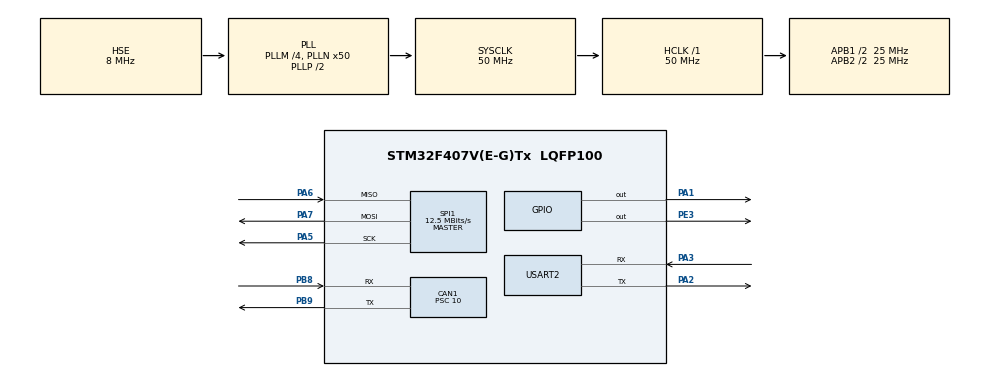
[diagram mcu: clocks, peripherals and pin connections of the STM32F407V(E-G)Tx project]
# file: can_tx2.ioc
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CAN1.BS1=CAN_BS1_2TQ
CAN1.BS2=CAN_BS2_2TQ
CAN1.CalculateBaudRate=500000
CAN1.CalculateTimeBit=2000
CAN1.CalculateTimeQuantum=400.0
CAN1.Prescaler=10
Mcu.Family=STM32F4
Mcu.Name=STM32F407V(E-G)Tx
Mcu.Package=LQFP100
NVIC.CAN1_RX0_IRQn=true\:0\:0\:false\:false\:true\:true\:true\:true
NVIC.PriorityGroup=NVIC_PRIORITYGROUP_0
PA1.Signal=GPIO_Output
PA2.Mode=Asynchronous
PA2.Signal=USART2_TX
PA3.Mode=Asynchronous
PA3.Signal=USART2_RX
PA5.Mode=Full_Duplex_Master
PA5.Signal=SPI1_SCK
PA6.Mode=Full_Duplex_Master
PA6.Signal=SPI1_MISO
PA7.Mode=Full_Duplex_Master
PA7.Signal=SPI1_MOSI
PB8.Mode=CAN_Activate
PB8.Signal=CAN1_RX
PB9.Mode=CAN_Activate
PB9.Signal=CAN1_TX
PE3.Signal=GPIO_Output
PH0-OSC_IN.Mode=HSE-External-Oscillator
PH0-OSC_IN.Signal=RCC_OSC_IN
PH1-OSC_OUT.Mode=HSE-External-Oscillator
PH1-OSC_OUT.Signal=RCC_OSC_OUT
ProjectManager.HeapSize=0x200
ProjectManager.StackSize=0x400
ProjectManager.TargetToolchain=STM32CubeIDE
RCC.48MHZClocksFreq_Value=14285714.285714285
RCC.AHBFreq_Value=50000000
RCC.APB1CLKDivider=RCC_HCLK_DIV2
RCC.APB1Freq_Value=25000000
RCC.APB1TimFreq_Value=50000000
RCC.APB2CLKDivider=RCC_HCLK_DIV2
RCC.APB2Freq_Value=25000000
RCC.APB2TimFreq_Value=50000000
RCC.CortexFreq_Value=50000000
RCC.HCLKFreq_Value=50000000
RCC.HSE_VALUE=8000000
RCC.HSI_VALUE=16000000
RCC.LSE_VALUE=32768
RCC.PLLM=4
RCC.PLLN=50
RCC.PLLQ=7
RCC.PLLSourceVirtual=RCC_PLLSOURCE_HSE
RCC.SYSCLKFreq_VALUE=50000000
RCC.SYSCLKSource=RCC_SYSCLKSOURCE_PLLCLK
RCC.VCOOutputFreq_Value=100000000
SPI1.CalculateBaudRate=12.5 MBits/s
SPI1.Direction=SPI_DIRECTION_2LINES
SPI1.Mode=SPI_MODE_MASTER
SPI1.VirtualType=VM_MASTER
TIM6.Period=0xffff-1
TIM6.Prescaler=50-1
USART2.VirtualMode=VM_ASYNC
VP_TIM6_VS_ClockSourceINT.Mode=Enable_Timer
board=STM32F407G-DISC1

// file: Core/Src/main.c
/* USER CODE BEGIN Header */
/**
  ******************************************************************************
  * @file           : main.c
  * @brief          : Main program body
  ******************************************************************************
  * @attention
  *
  * Copyright (c) 2024 STMicroelectronics.
  * All rights reserved.
  *
  * This software is licensed under terms that can be found in the LICENSE file
  * in the root directory of this software component.
  * If no LICENSE file comes with this software, it is provided AS-IS.
  *
  ******************************************************************************
  */
/* USER CODE END Header */
#include "main.h"

/* USER CODE BEGIN Includes */
#include <stdio.h>
#include "dht22.h"
#include "accel.h"

/* USER CODE END Includes */

CAN_HandleTypeDef hcan1;

SPI_HandleTypeDef hspi1;

TIM_HandleTypeDef htim6;

UART_HandleTypeDef huart2;

void SystemClock_Config(void);
static void MX_GPIO_Init(void);
static void MX_CAN1_Init(void);
static void MX_TIM6_Init(void);
static void MX_USART2_UART_Init(void);
static void MX_SPI1_Init(void);

/* USER CODE BEGIN 0 */

uint8_t checksum, i;
//uint8_t T_Byte1, T_Byte2, RH_Byte1, RH_Byte2;
uint8_t TempData[2], RHData[2];

uint8_t TxData[8];

/* USER CODE END 0 */

int main(void)
{

  /* USER CODE BEGIN 1 */

	char msg[50];
	uint8_t AxisArray[6];

	uint16_t rh, temp;
	uint8_t sign;
  /* USER CODE END 1 */

  /* MCU Configuration--------------------------------------------------------*/

  /* Reset of all peripherals, Initializes the Flash interface and the Systick. */
  HAL_Init();

  /* Configure the system clock */
  SystemClock_Config();

  /* Initialize all configured peripherals */
  MX_GPIO_Init();
  MX_CAN1_Init();
  MX_TIM6_Init();
  MX_USART2_UART_Init();
  MX_SPI1_Init();
  /* USER CODE BEGIN 2 */

  HAL_CAN_Start(&hcan1);
  HAL_CAN_ActivateNotification(&hcan1, CAN_IT_RX_FIFO0_MSG_PENDING);

  HAL_TIM_Base_Start(&htim6);  // for us Delay

  LIS3DSH_Init(&hspi1, GPIOE, GPIO_PIN_3);

  sprintf(msg, "UART initialized..\r\n");
  HAL_UART_Transmit(&huart2, (uint8_t *)msg, strlen(msg), HAL_MAX_DELAY);

  TxHeader.DLC = 4;
  TxHeader.IDE = CAN_ID_STD;
  TxHeader.RTR = CAN_RTR_DATA;
  TxHeader.StdId = 0x446;
  TxHeader.ExtId = 0x00;
  TxHeader.TransmitGlobalTime = DISABLE;
  HAL_Delay(500);

//  	TxHeader.DLC = 6;
//    TxHeader.IDE = CAN_ID_STD;
//    TxHeader.RTR = CAN_RTR_DATA;
//    TxHeader.StdId = 0x103;
//    TxHeader.ExtId = 0x00;
//    TxHeader.TransmitGlobalTime = DISABLE;
//    HAL_Delay(500);

  /* USER CODE END 2 */

  /* Infinite loop */
  while (1)
  {

    /* USER CODE BEGIN 3 */

	  // DHT22 code Start-------------------------------------------------------------------------->
	  delay_us(30);
	  Start_Signal();
	 	  if (!check_response()) {
	 		  send_uart("No Response from the Sensor!\r\n");
	 		  continue;
	 	  }

	 	 RHData[0] = read_byte();
	     RHData[1] = read_byte();
	 	 TempData[0] = read_byte();
	 	 TempData[1] = read_byte();
	 	 checksum = read_byte();

	 	  if (checksum != ((RHData[0] + RHData[1] + TempData[0] + TempData[1]) & 0xFF)) {
	 		  send_uart("Checksum Error!\r\n");
	 		  continue;
	 	  }

	 	  rh = (RHData[0] << 8) | RHData[1];
	 	  temp = (TempData[0] << 8) | TempData[1];
	 	  sign = (temp & 0x8000) ? -1 : 1;
	 	  if (sign == -1) temp &= 0x7FFF;

	 	  CAN_TxHeaderTypeDef TxHeader;
	 	  TxHeader.DLC = 4;
	 	  TxHeader.IDE = CAN_ID_STD;
	 	  TxHeader.RTR = CAN_RTR_DATA;
	 	  TxHeader.StdId = 0x0A9;
	 	  TxHeader.ExtId = 0x00;
	 	  TxHeader.TransmitGlobalTime = DISABLE;
	 	  uint32_t TxMailbox;
	 	  if(HAL_CAN_AddTxMessage(&hcan1, &TxHeader, TempData, &TxMailbox) != HAL_OK)
	 		  Error_Handler();

	 	  sprintf(msg, "RH: %u.%u%%, Temp: %d.%uC\r\n", rh / 10, rh % 10, sign * (temp / 10), temp % 10);
	 	  send_uart(msg);
	 	 // DHT22 code end-------------------------------------------------------------------------->

	 	 // Accelerometer code Start-------------------------------------------------------------------------->

		LIS3DSH_WaitForDataAvail(&hspi1, GPIOE, GPIO_PIN_3);
		LIS3DSH_ReadDataArray(&hspi1, GPIOE, GPIO_PIN_3, AxisArray);

		CAN_TxHeaderTypeDef TxHeader1;
		TxHeader.DLC = 6;
		TxHeader.IDE = CAN_ID_STD;
		TxHeader.RTR = CAN_RTR_DATA;
		TxHeader.StdId = 0x0AA;
		TxHeader.ExtId = 0x0000;
		TxHeader.TransmitGlobalTime = DISABLE;
		uint32_t TxMailbox1;
		if(HAL_CAN_AddTxMessage(&hcan1, &TxHeader1, AxisArray, &TxMailbox1) != HAL_OK)
			Error_Handler();

		HAL_Delay(1000);
  }
  /* USER CODE END 3 */
}

void SystemClock_Config(void)
{
  RCC_OscInitTypeDef RCC_OscInitStruct = {0};
  RCC_ClkInitTypeDef RCC_ClkInitStruct = {0};

  /** Configure the main internal regulator output voltage
  */
  __HAL_RCC_PWR_CLK_ENABLE();
  __HAL_PWR_VOLTAGESCALING_CONFIG(PWR_REGULATOR_VOLTAGE_SCALE1);

  /** Initializes the RCC Oscillators according to the specified parameters
  * in the RCC_OscInitTypeDef structure.
  */
  RCC_OscInitStruct.OscillatorType = RCC_OSCILLATORTYPE_HSE;
  RCC_OscInitStruct.HSEState = RCC_HSE_ON;
  RCC_OscInitStruct.PLL.PLLState = RCC_PLL_ON;
  RCC_OscInitStruct.PLL.PLLSource = RCC_PLLSOURCE_HSE;
  RCC_OscInitStruct.PLL.PLLM = 4;
  RCC_OscInitStruct.PLL.PLLN = 50;
  RCC_OscInitStruct.PLL.PLLP = RCC_PLLP_DIV2;
  RCC_OscInitStruct.PLL.PLLQ = 7;
  if (HAL_RCC_OscConfig(&RCC_OscInitStruct) != HAL_OK)
  {
    Error_Handler();
  }

  /** Initializes the CPU, AHB and APB buses clocks
  */
  RCC_ClkInitStruct.ClockType = RCC_CLOCKTYPE_HCLK|RCC_CLOCKTYPE_SYSCLK
                              |RCC_CLOCKTYPE_PCLK1|RCC_CLOCKTYPE_PCLK2;
  RCC_ClkInitStruct.SYSCLKSource = RCC_SYSCLKSOURCE_PLLCLK;
  RCC_ClkInitStruct.AHBCLKDivider = RCC_SYSCLK_DIV1;
  RCC_ClkInitStruct.APB1CLKDivider = RCC_HCLK_DIV2;
  RCC_ClkInitStruct.APB2CLKDivider = RCC_HCLK_DIV2;

  if (HAL_RCC_ClockConfig(&RCC_ClkInitStruct, FLASH_LATENCY_1) != HAL_OK)
  {
    Error_Handler();
  }
}

static void MX_CAN1_Init(void)
{

  hcan1.Instance = CAN1;
  hcan1.Init.Prescaler = 10;
  hcan1.Init.Mode = CAN_MODE_NORMAL;
  hcan1.Init.SyncJumpWidth = CAN_SJW_1TQ;
  hcan1.Init.TimeSeg1 = CAN_BS1_2TQ;
  hcan1.Init.TimeSeg2 = CAN_BS2_2TQ;
  hcan1.Init.TimeTriggeredMode = DISABLE;
  hcan1.Init.AutoBusOff = DISABLE;
  hcan1.Init.AutoWakeUp = DISABLE;
  hcan1.Init.AutoRetransmission = DISABLE;
  hcan1.Init.ReceiveFifoLocked = DISABLE;
  hcan1.Init.TransmitFifoPriority = DISABLE;
  if (HAL_CAN_Init(&hcan1) != HAL_OK)
  {
    Error_Handler();
  }

}

static void MX_SPI1_Init(void)
{

  /* SPI1 parameter configuration*/
  hspi1.Instance = SPI1;
  hspi1.Init.Mode = SPI_MODE_MASTER;
  hspi1.Init.Direction = SPI_DIRECTION_2LINES;
  hspi1.Init.DataSize = SPI_DATASIZE_8BIT;
  hspi1.Init.CLKPolarity = SPI_POLARITY_LOW;
  hspi1.Init.CLKPhase = SPI_PHASE_1EDGE;
  hspi1.Init.NSS = SPI_NSS_SOFT;
  hspi1.Init.BaudRatePrescaler = SPI_BAUDRATEPRESCALER_2;
  hspi1.Init.FirstBit = SPI_FIRSTBIT_MSB;
  hspi1.Init.TIMode = SPI_TIMODE_DISABLE;
  hspi1.Init.CRCCalculation = SPI_CRCCALCULATION_DISABLE;
  hspi1.Init.CRCPolynomial = 10;
  if (HAL_SPI_Init(&hspi1) != HAL_OK)
  {
    Error_Handler();
  }

}

static void MX_TIM6_Init(void)
{

  TIM_MasterConfigTypeDef sMasterConfig = {0};

  htim6.Instance = TIM6;
  htim6.Init.Prescaler = 50-1;
  htim6.Init.CounterMode = TIM_COUNTERMODE_UP;
  htim6.Init.Period = 0xffff-1;
  htim6.Init.AutoReloadPreload = TIM_AUTORELOAD_PRELOAD_DISABLE;
  if (HAL_TIM_Base_Init(&htim6) != HAL_OK)
  {
    Error_Handler();
  }
  sMasterConfig.MasterOutputTrigger = TIM_TRGO_RESET;
  sMasterConfig.MasterSlaveMode = TIM_MASTERSLAVEMODE_DISABLE;
  if (HAL_TIMEx_MasterConfigSynchronization(&htim6, &sMasterConfig) != HAL_OK)
  {
    Error_Handler();
  }

}

static void MX_USART2_UART_Init(void)
{

  huart2.Instance = USART2;
  huart2.Init.BaudRate = 115200;
  huart2.Init.WordLength = UART_WORDLENGTH_8B;
  huart2.Init.StopBits = UART_STOPBITS_1;
  huart2.Init.Parity = UART_PARITY_NONE;
  huart2.Init.Mode = UART_MODE_TX_RX;
  huart2.Init.HwFlowCtl = UART_HWCONTROL_NONE;
  huart2.Init.OverSampling = UART_OVERSAMPLING_16;
  if (HAL_UART_Init(&huart2) != HAL_OK)
  {
    Error_Handler();
  }

}

static void MX_GPIO_Init(void)
{
  GPIO_InitTypeDef GPIO_InitStruct = {0};

  /* GPIO Ports Clock Enable */
  __HAL_RCC_GPIOE_CLK_ENABLE();
  __HAL_RCC_GPIOH_CLK_ENABLE();
  __HAL_RCC_GPIOA_CLK_ENABLE();
  __HAL_RCC_GPIOB_CLK_ENABLE();

  /*Configure GPIO pin Output Level */
  HAL_GPIO_WritePin(GPIOE, GPIO_PIN_3, GPIO_PIN_RESET);

  /*Configure GPIO pin Output Level */
  HAL_GPIO_WritePin(GPIOA, GPIO_PIN_1, GPIO_PIN_RESET);

  /*Configure GPIO pin : PE3 */
  GPIO_InitStruct.Pin = GPIO_PIN_3;
  GPIO_InitStruct.Mode = GPIO_MODE_OUTPUT_PP;
  GPIO_InitStruct.Pull = GPIO_NOPULL;
  GPIO_InitStruct.Speed = GPIO_SPEED_FREQ_LOW;
  HAL_GPIO_Init(GPIOE, &GPIO_InitStruct);

  /*Configure GPIO pin : PA1 */
  GPIO_InitStruct.Pin = GPIO_PIN_1;
  GPIO_InitStruct.Mode = GPIO_MODE_OUTPUT_PP;
  GPIO_InitStruct.Pull = GPIO_NOPULL;
  GPIO_InitStruct.Speed = GPIO_SPEED_FREQ_LOW;
  HAL_GPIO_Init(GPIOA, &GPIO_InitStruct);

}

void Error_Handler(void)
{
  __disable_irq();
  while (1)
  {
  }
}
